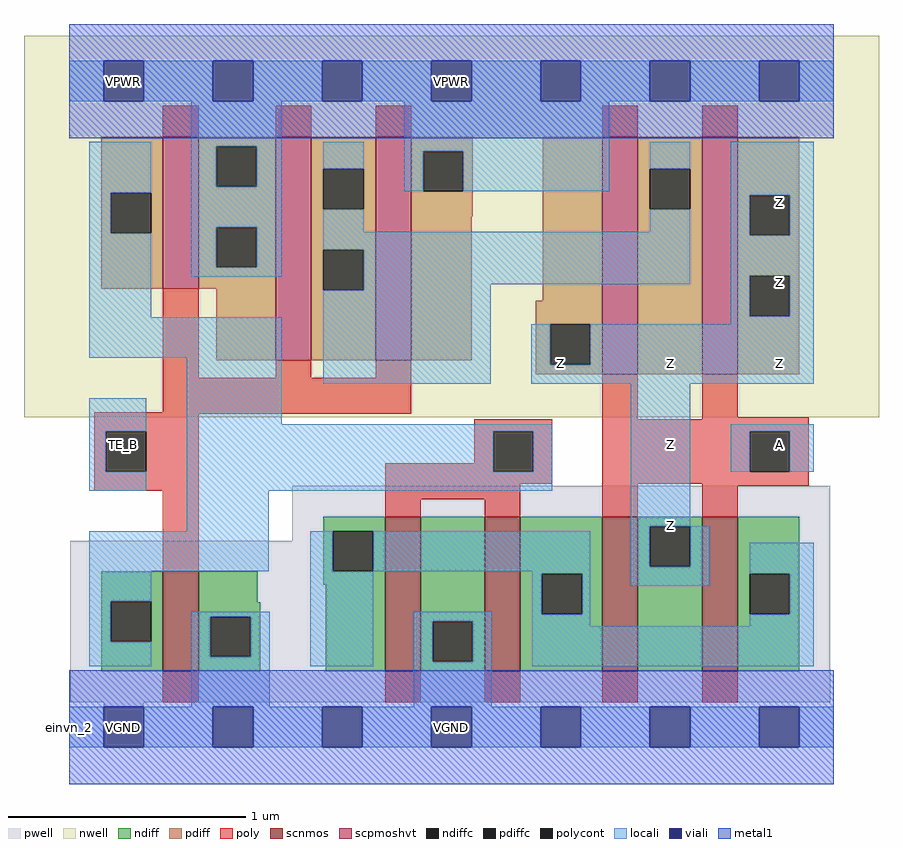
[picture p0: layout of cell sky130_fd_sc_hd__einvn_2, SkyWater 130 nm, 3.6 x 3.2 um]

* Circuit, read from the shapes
.subckt sky130_fd_sc_hd__einvn_2 A TE_B VGND VNB VPB VPWR Z
XM1 VGND TE_B n1 VNB sky130_fd_pr__nfet_01v8 w=0.42 l=0.15
XM2 VGND n1 n2 VNB sky130_fd_pr__nfet_01v8 w=0.65 l=0.15 m=2
XM3 Z A n2 VNB sky130_fd_pr__nfet_01v8 w=0.65 l=0.15 m=2
XM4 VPWR TE_B n1 VPB sky130_fd_pr__pfet_01v8_hvt w=0.64 l=0.15
XM5 n3 TE_B VPWR VPB sky130_fd_pr__pfet_01v8_hvt w=0.94 l=0.15 m=2
XM6 n3 A Z VPB sky130_fd_pr__pfet_01v8_hvt w=1 l=0.15 m=2
.ends

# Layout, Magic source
magic
tech sky130B
magscale 1 2
<< nwell >>
rect -38 261 682 582
<< pwell >>
rect 188 157 641 203
rect 1 21 641 157
rect 29 -17 63 21
<< scnmos >>
rect 79 47 109 131
rect 266 47 296 177
rect 350 47 380 177
rect 449 47 479 177
rect 533 47 563 177
<< scpmoshvt >>
rect 79 369 109 497
rect 174 309 204 497
rect 258 309 288 497
rect 449 297 479 497
rect 533 297 563 497
<< ndiff >>
rect 214 165 266 177
rect 214 131 222 165
rect 256 131 266 165
rect 27 106 79 131
rect 27 72 35 106
rect 69 72 79 106
rect 27 47 79 72
rect 109 105 159 131
rect 214 120 266 131
rect 109 93 161 105
rect 109 59 119 93
rect 153 59 161 93
rect 109 47 161 59
rect 216 47 266 120
rect 296 89 350 177
rect 296 55 306 89
rect 340 55 350 89
rect 296 47 350 55
rect 380 129 449 177
rect 380 95 398 129
rect 432 95 449 129
rect 380 47 449 95
rect 479 169 533 177
rect 479 135 489 169
rect 523 135 533 169
rect 479 47 533 135
rect 563 129 615 177
rect 563 95 573 129
rect 607 95 615 129
rect 563 47 615 95
<< pdiff >>
rect 27 450 79 497
rect 27 416 35 450
rect 69 416 79 450
rect 27 369 79 416
rect 109 489 174 497
rect 109 455 124 489
rect 158 455 174 489
rect 109 421 174 455
rect 109 387 124 421
rect 158 387 174 421
rect 109 369 174 387
rect 124 309 174 369
rect 204 470 258 497
rect 204 436 214 470
rect 248 436 258 470
rect 204 402 258 436
rect 204 368 214 402
rect 248 368 258 402
rect 204 309 258 368
rect 288 485 340 497
rect 288 451 298 485
rect 332 451 340 485
rect 288 430 340 451
rect 288 309 339 430
rect 399 359 449 497
rect 393 339 449 359
rect 393 305 405 339
rect 439 305 449 339
rect 393 297 449 305
rect 479 470 533 497
rect 479 436 489 470
rect 523 436 533 470
rect 479 297 533 436
rect 563 448 615 497
rect 563 414 573 448
rect 607 414 615 448
rect 563 380 615 414
rect 563 346 573 380
rect 607 346 615 380
rect 563 297 615 346
<< ndiffc >>
rect 222 131 256 165
rect 35 72 69 106
rect 119 59 153 93
rect 306 55 340 89
rect 398 95 432 129
rect 489 135 523 169
rect 573 95 607 129
<< pdiffc >>
rect 35 416 69 450
rect 124 455 158 489
rect 124 387 158 421
rect 214 436 248 470
rect 214 368 248 402
rect 298 451 332 485
rect 405 305 439 339
rect 489 436 523 470
rect 573 414 607 448
rect 573 346 607 380
<< poly >>
rect 79 497 109 523
rect 174 497 204 523
rect 258 497 288 523
rect 449 497 479 523
rect 533 497 563 523
rect 79 294 109 369
rect 174 294 204 309
rect 258 294 288 309
rect 79 265 288 294
rect 21 264 288 265
rect 21 249 109 264
rect 449 259 479 297
rect 533 261 563 297
rect 533 259 623 261
rect 21 215 31 249
rect 65 215 109 249
rect 341 249 407 259
rect 341 222 357 249
rect 21 199 109 215
rect 79 131 109 199
rect 266 215 357 222
rect 391 215 407 249
rect 266 205 407 215
rect 449 249 623 259
rect 449 215 573 249
rect 607 215 623 249
rect 449 205 623 215
rect 266 192 380 205
rect 266 177 296 192
rect 350 177 380 192
rect 449 177 479 205
rect 533 203 623 205
rect 533 177 563 203
rect 79 21 109 47
rect 266 21 296 47
rect 350 21 380 47
rect 449 21 479 47
rect 533 21 563 47
<< polycont >>
rect 31 215 65 249
rect 357 215 391 249
rect 573 215 607 249
<< locali >>
rect 0 527 29 561
rect 63 527 121 561
rect 155 527 213 561
rect 247 527 305 561
rect 339 527 397 561
rect 431 527 489 561
rect 523 527 581 561
rect 615 527 644 561
rect 17 450 69 493
rect 17 416 35 450
rect 17 345 69 416
rect 103 489 179 527
rect 103 455 124 489
rect 158 455 179 489
rect 103 421 179 455
rect 103 387 124 421
rect 158 387 179 421
rect 103 379 179 387
rect 214 470 248 493
rect 282 485 455 527
rect 282 451 298 485
rect 332 451 455 485
rect 489 470 523 493
rect 214 417 248 436
rect 489 417 523 436
rect 214 402 523 417
rect 248 373 523 402
rect 557 448 627 493
rect 557 414 573 448
rect 607 414 627 448
rect 557 380 627 414
rect 248 368 355 373
rect 17 311 179 345
rect 17 249 65 277
rect 17 215 31 249
rect 17 199 65 215
rect 99 255 179 311
rect 214 289 355 368
rect 557 346 573 380
rect 607 346 627 380
rect 557 339 627 346
rect 389 305 405 339
rect 439 305 627 339
rect 389 289 627 305
rect 99 249 407 255
rect 99 215 357 249
rect 391 215 407 249
rect 99 199 407 215
rect 99 165 168 199
rect 473 169 523 289
rect 557 249 627 255
rect 557 215 573 249
rect 607 215 627 249
rect 17 131 168 165
rect 203 131 222 165
rect 256 131 439 165
rect 17 106 69 131
rect 17 72 35 106
rect 17 51 69 72
rect 103 93 169 97
rect 103 59 119 93
rect 153 59 169 93
rect 103 17 169 59
rect 203 51 256 131
rect 390 129 439 131
rect 290 89 356 97
rect 290 55 306 89
rect 340 55 356 89
rect 290 17 356 55
rect 390 95 398 129
rect 432 95 439 129
rect 473 135 489 169
rect 523 135 539 169
rect 473 119 539 135
rect 573 129 627 155
rect 390 85 439 95
rect 607 95 627 129
rect 573 85 627 95
rect 390 51 627 85
rect 0 -17 29 17
rect 63 -17 121 17
rect 155 -17 213 17
rect 247 -17 305 17
rect 339 -17 397 17
rect 431 -17 489 17
rect 523 -17 581 17
rect 615 -17 644 17
<< viali >>
rect 29 527 63 561
rect 121 527 155 561
rect 213 527 247 561
rect 305 527 339 561
rect 397 527 431 561
rect 489 527 523 561
rect 581 527 615 561
rect 29 -17 63 17
rect 121 -17 155 17
rect 213 -17 247 17
rect 305 -17 339 17
rect 397 -17 431 17
rect 489 -17 523 17
rect 581 -17 615 17
<< metal1 >>
rect 0 561 644 592
rect 0 527 29 561
rect 63 527 121 561
rect 155 527 213 561
rect 247 527 305 561
rect 339 527 397 561
rect 431 527 489 561
rect 523 527 581 561
rect 615 527 644 561
rect 0 496 644 527
rect 0 17 644 48
rect 0 -17 29 17
rect 63 -17 121 17
rect 155 -17 213 17
rect 247 -17 305 17
rect 339 -17 397 17
rect 431 -17 489 17
rect 523 -17 581 17
rect 615 -17 644 17
rect 0 -48 644 -17
<< labels >>
flabel locali s 29 221 63 255 0 FreeSans 200 0 0 0 TE_B
port 2 nsew signal input
flabel locali s 581 221 615 255 0 FreeSans 200 0 0 0 A
port 1 nsew signal input
flabel locali s 489 153 523 187 0 FreeSans 200 0 0 0 Z
port 7 nsew signal output
flabel locali s 489 221 523 255 0 FreeSans 200 0 0 0 Z
port 7 nsew signal output
flabel locali s 397 289 431 323 0 FreeSans 200 0 0 0 Z
port 7 nsew signal output
flabel locali s 489 289 523 323 0 FreeSans 200 0 0 0 Z
port 7 nsew signal output
flabel locali s 581 289 615 323 0 FreeSans 200 0 0 0 Z
port 7 nsew signal output
flabel locali s 581 425 615 459 0 FreeSans 200 0 0 0 Z
port 7 nsew signal output
flabel locali s 581 357 615 391 0 FreeSans 200 0 0 0 Z
port 7 nsew signal output
flabel metal1 s 29 527 63 561 0 FreeSans 200 0 0 0 VPWR
port 6 nsew power bidirectional abutment
flabel metal1 s 29 -17 63 17 0 FreeSans 200 0 0 0 VGND
port 3 nsew ground bidirectional abutment
flabel nwell s 29 527 63 561 0 FreeSans 200 0 0 0 VPB
port 5 nsew power bidirectional
flabel pwell s 29 -17 63 17 0 FreeSans 200 0 0 0 VNB
port 4 nsew ground bidirectional
rlabel comment s 0 0 0 0 4 einvn_2
rlabel metal1 s 0 -48 644 48 1 VGND
port 3 nsew ground bidirectional abutment
rlabel metal1 s 0 496 644 592 1 VPWR
port 6 nsew power bidirectional abutment
<< properties >>
string FIXED_BBOX 0 0 644 544
string GDS_END 2956788
string GDS_FILE $PDKPATH/libs.ref/sky130_fd_sc_hd/gds/sky130_fd_sc_hd.gds
string GDS_START 2950502
string LEFclass CORE
string LEFsite unithd
string LEFsymmetry X Y R90
string path 0.000 13.600 16.100 13.600 
<< end >>
